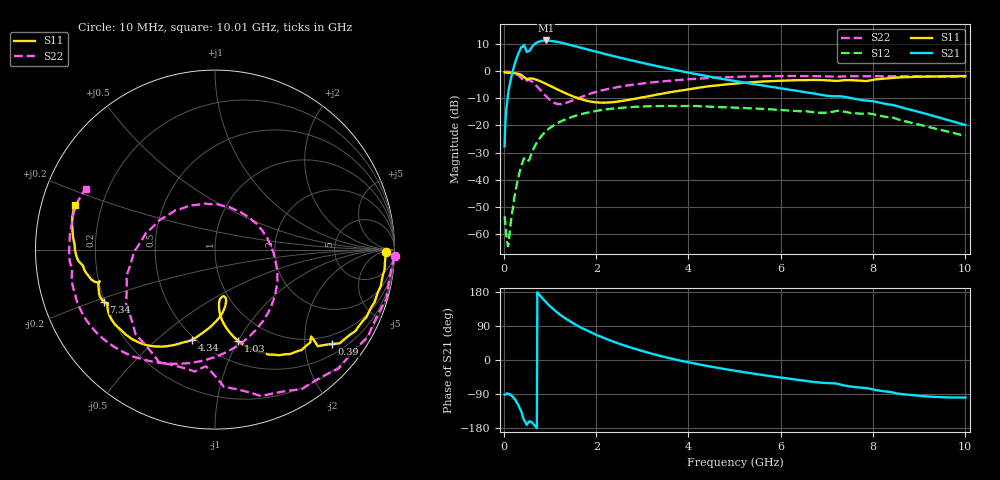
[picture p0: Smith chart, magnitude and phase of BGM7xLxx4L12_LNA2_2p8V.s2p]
! (c) 2014 Infineon Technologies AG
! BGM7xLxx4L12 - Silicon Germanium Quad-Band LTE LNA bank
! 20 May 2014
! Special Application Board
! C1 = L1 = 0 Ohm
! C2 = 100 nF
! Vcc = 2.8V
! RF input and output lines de-embedded
! Port 1 reference plane: LNA input AI (pin 9)
! Port 2 reference plane: LNA output AO (pin 6)
! Network Data:
! Measured BGM7xLxx4L12 device level s-parameters
# GHz S MA R 50
!Freq  MagS11  AngS11  MagS21  AngS21  MagS12  AngS12  MagS22  AngS22
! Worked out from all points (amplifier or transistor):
!   1001 points, 10 MHz to 10.01 GHz, reference 50 ohm
!   highest |S21| = 11.4 dB at 910 MHz (marker M1)
!   |S21| within 3 dB of that: 581.3 MHz to 1.734 GHz (1.153 GHz wide, 99.6 % of centre)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
!   unconditionally stable (mu >= 1): 12.11 MHz to end of sweep
!   at 1.67 GHz: K = 1.16, MAG = 9.8 dB, |S12| = -15.8 dB
!   at 5.01 GHz: K = 1.31, MAG = 1.6 dB, |S12| = -13.4 dB
!   at 10.01 GHz: K = 9.57, MAG = -10.8 dB, |S12| = -23.9 dB
!   lowest NFmin = 0.61 dB at 850 MHz
!   S11 on the Smith chart (normalised r, x): 10 MHz: 41, -11; 390 MHz: 0.75, -2.65; 1.03 GHz: 0.71, -1.00; 4.34 GHz: 0.48, -0.66; 7.34 GHz: 0.20, -0.21; 10.01 GHz: 0.10, +0.15
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0.01  0.9553 -0.7  0.04113 -91.5  0.002093 -29.8  1.001 -2.2
0.1  0.9451 -9.4  0.4593 -90.2  0.0006936 -171.4  0.9755 -22.8
0.23  0.925 -21.9  1.386 -103.9  0.005131 -175.3  0.9181 -53.3
0.33  0.8892 -32.3  2.34 -125.1  0.0131 170.3  0.8168 -76.7
0.39  0.8383 -38.8  2.823 -143.4  0.01969 156.1  0.7236 -88.7
0.48  0.7324 -42.2  2.409 -168.3  0.02183 133.1  0.6817 -98.6
0.54  0.7378 -43.9  2.369 -162.9  0.02298 142.3  0.6926 -113.8
0.62  0.7342 -50.0  2.943 -166.7  0.03401 146.3  0.6308 -135.6
0.75  0.6761 -60.1  3.53 174.3  0.05477 135.6  0.4869 -168.1
0.91  0.5887 -70.2  3.737 152.3  0.07881 120.9  0.3496 151.6
1.03  0.5246 -75.8  3.671 138.1  0.0952 110.9  0.2826 119.5
1.3  0.4067 -83.7  3.294 112.2  0.1269 92.4  0.2543 50.5
1.68  0.3056 -85.9  2.719 84.9  0.1624 72.7  0.3378 -8.4
1.98  0.2689 -82.5  2.337 67.4  0.185 60.0  0.4151 -35.8
2.33  0.2686 -78.3  1.96 50.3  0.2038 47.2  0.4878 -59.0
3.35  0.3783 -86.2  1.235 12.0  0.2287 18.3  0.6445 -102.0
4.34  0.518 -104.3  0.8353 -14.4  0.2263 -2.6  0.7491 -127.2
5.01  0.5951 -115.7  0.6639 -28.4  0.214 -13.1  0.792 -139.9
6.68  0.6959 -143.3  0.3968 -57.4  0.1775 -34.8  0.8188 -165.2
7.34  0.6832 -154.9  0.3441 -66.1  0.1843 -43.8  0.8083 -174.1
8.35  0.7427 -173.3  0.2446 -83.9  0.1429 -61.6  0.8111 170.6
10.01  0.8195 162.5  0.1022 -99.0  0.06416 -65.6  0.795 154.9
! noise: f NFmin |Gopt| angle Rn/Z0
0.7  0.615  0.469  45.98  0.1704
0.75  0.6231  0.4611  47.55  0.1582
0.8  0.6207  0.4361  49.08  0.1455
0.85  0.6149  0.4352  51.81  0.1363
0.9  0.6283  0.4264  52.77  0.1356
0.95  0.6613  0.4  56.27  0.1361
1  0.6871  0.4044  60.48  0.1306
